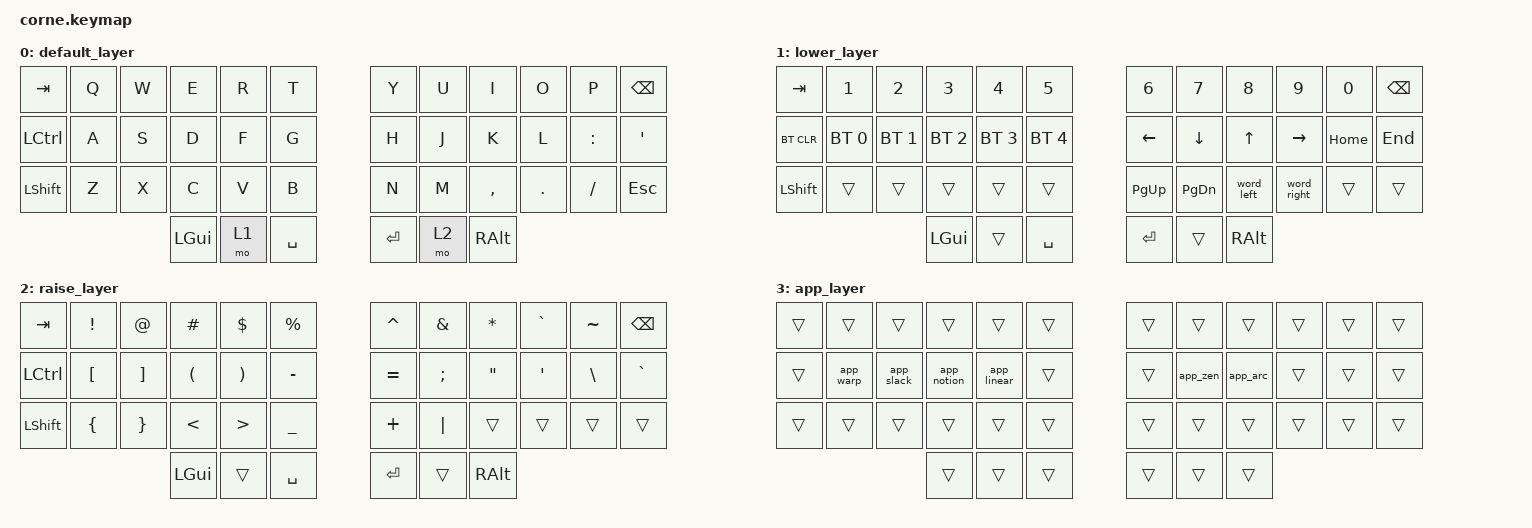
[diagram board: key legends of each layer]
/*
 * Optimized Corne Keymap for Mike Carey - v2.1
 * Optimizations: Markdown/prose editing, app switching (Raycast), Obsidian navigation
 * PRIMARY WORKFLOWS: Slack messages, Linear tickets, Obsidian docs, Terminal (claude)
 * CHANGES FROM v2.0:
 *   - Colon on base layer home row (replaced semicolon) for emoji usage
 *   - Word-jump navigation: Shift+H/L = Option+Left/Right (word backward/forward)
 * Generated: 2026-06-09
 */

#include <behaviors.dtsi>
#include <dt-bindings/zmk/keys.h>
#include <dt-bindings/zmk/bt.h>

/ {
    // Define macros for app switching via Raycast
    // Each sends Cmd+Ctrl+Opt+Shift+[key] for Raycast to intercept
    macros {
        app_warp: app_warp {
            compatible = "zmk,behavior-macro";
            #binding-cells = <0>;
            bindings = <&kp LG(LC(LA(LS(A))))>;
        };
        app_slack: app_slack {
            compatible = "zmk,behavior-macro";
            #binding-cells = <0>;
            bindings = <&kp LG(LC(LA(LS(S))))>;
        };
        app_notion: app_notion {
            compatible = "zmk,behavior-macro";
            #binding-cells = <0>;
            bindings = <&kp LG(LC(LA(LS(D))))>;
        };
        app_linear: app_linear {
            compatible = "zmk,behavior-macro";
            #binding-cells = <0>;
            bindings = <&kp LG(LC(LA(LS(F))))>;
        };
        app_zen: app_zen {
            compatible = "zmk,behavior-macro";
            #binding-cells = <0>;
            bindings = <&kp LG(LC(LA(LS(J))))>;
        };
        app_arc: app_arc {
            compatible = "zmk,behavior-macro";
            #binding-cells = <0>;
            bindings = <&kp LG(LC(LA(LS(K))))>;
        };
        // Word-jump macros for terminal/editor navigation
        word_left: word_left {
            compatible = "zmk,behavior-macro";
            #binding-cells = <0>;
            bindings = <&kp LA(LEFT)>;  // Option+Left = word backward
        };
        word_right: word_right {
            compatible = "zmk,behavior-macro";
            #binding-cells = <0>;
            bindings = <&kp LA(RIGHT)>;  // Option+Right = word forward
        };
    };

    // Conditional layer: APP layer activates when LOWER + RAISE held together
    conditional_layers {
        compatible = "zmk,conditional-layers";
        app_layer {
            if-layers = <1 2>;  // If layers 1 (LOWER) and 2 (RAISE) both active
            then-layer = <3>;    // Activate layer 3 (APP)
        };
    };

    keymap {
        compatible = "zmk,keymap";

        // ============================================
        // LAYER 0: BASE - QWERTY (colon on home row for emoji usage)
        // ============================================
        default_layer {
            // -----------------------------------------------------------------------------------------
            // |  TAB |  Q  |  W  |  E  |  R  |  T  |   |  Y  |  U   |  I  |  O  |  P  | BSPC |
            // | CTRL |  A  |  S  |  D  |  F  |  G  |   |  H  |  J   |  K  |  L  |  :  |  '   |
            // | SHFT |  Z  |  X  |  C  |  V  |  B  |   |  N  |  M   |  ,  |  .  |  /  | ESC  |
            //                    | GUI | LWR | SPC |   | ENT | RSE  | ALT |

            bindings = <
   &kp TAB   &kp Q &kp W &kp E &kp R &kp T   &kp Y &kp U  &kp I     &kp O   &kp P    &kp BSPC
   &kp LCTRL &kp A &kp S &kp D &kp F &kp G   &kp H &kp J  &kp K     &kp L   &kp COLON &kp SQT
   &kp LSHFT &kp Z &kp X &kp C &kp V &kp B   &kp N &kp M  &kp COMMA &kp DOT &kp FSLH &kp ESC
                  &kp LGUI &mo 1 &kp SPACE   &kp RET &mo 2 &kp RALT
            >;
        };

        // ============================================
        // LAYER 1: LOWER - Numbers + Navigation + Word-Jump
        // Left: Linear numbers for ticket IDs, dates
        // Right: Vim-style arrows (HJKL) for Obsidian doc navigation
        //        + Shift modifier for word-jump (Shift+H/L = word left/right)
        // ============================================
        lower_layer {
            // -----------------------------------------------------------------------------------------
            // |  TAB |  1  |  2  |  3  |  4  |  5  |   |  6  |  7   |  8  |  9  |  0  | BSPC |
            // | BTCLR| BT1 | BT2 | BT3 | BT4 | BT5 |   | LFT | DWN  |  UP | RGT | HOME| END  |
            // | SHFT |     |     |     |     |     |   | PGUP| PGDN | W←  | W→  |     |      |
            //                    | GUI |     | SPC |   | ENT |      | ALT |
            // Note: Shift+H = word left, Shift+L = word right when LOWER is active

            bindings = <
   &kp TAB    &kp N1       &kp N2       &kp N3       &kp N4       &kp N5         &kp N6    &kp N7    &kp N8      &kp N9       &kp N0   &kp BSPC
   &bt BT_CLR &bt BT_SEL 0 &bt BT_SEL 1 &bt BT_SEL 2 &bt BT_SEL 3 &bt BT_SEL 4   &kp LEFT  &kp DOWN  &kp UP      &kp RIGHT    &kp HOME &kp END
   &kp LSHFT  &trans       &trans       &trans       &trans       &trans         &kp PG_UP &kp PG_DN &word_left  &word_right  &trans   &trans
                                        &kp LGUI     &trans       &kp SPACE      &kp RET   &trans    &kp RALT
            >;
        };

        // ============================================
        // LAYER 2: RAISE - Markdown Symbols (semicolon moved here from base)
        // Optimized for: Slack, Linear, Obsidian, markdown editing
        // High-frequency: backtick (code blocks), #, -, brackets
        // ============================================
        raise_layer {
            // -----------------------------------------------------------------------------------------
            // |  TAB |  !  |  @  |  #  |  $  |  %  |   |  ^  |  &  |  *  |  `  |  ~  | BSPC |
            // | CTRL |  [  |  ]  |  (  |  )  |  -  |   |  =  |  ;  |  "  |  '  |  \  |  `   |
            // | SHFT |  {  |  }  |  <  |  >  |  _  |   |  +  |  |  |     |     |     |      |
            //                    | GUI |     | SPC |   | ENT |     | ALT |

            bindings = <
   &kp TAB   &kp EXCL &kp AT   &kp HASH &kp DLLR &kp PRCNT   &kp CARET &kp AMPS &kp ASTRK &kp GRAVE &kp TILDE &kp BSPC
   &kp LCTRL &kp LBKT &kp RBKT &kp LPAR &kp RPAR &kp MINUS   &kp EQUAL &kp SEMI &kp DQT   &kp SQT   &kp BSLH  &kp GRAVE
   &kp LSHFT &kp LBRC &kp RBRC &kp LT   &kp GT   &kp UNDER   &kp PLUS  &kp PIPE &trans    &trans    &trans    &trans
                              &kp LGUI &trans &kp SPACE        &kp RET &trans &kp RALT
            >;
        };

        // ============================================
        // LAYER 3: APP - Application Switching (via Raycast)
        // Activated when LOWER + RAISE held together
        // Home row = app launcher (sends Cmd+Ctrl+Opt+Shift+key)
        // ============================================
        app_layer {
            // -----------------------------------------------------------------------------------------
            // |      |     |     |     |     |     |   |     |     |     |     |     |      |
            // |      | WARP|SLACK|NOTN |LINR |     |   |     | ZEN | ARC |     |     |      |
            // |      |     |     |     |     |     |   |     |     |     |     |     |      |
            //                    |     |     |     |   |     |     |     |

            bindings = <
   &trans &trans     &trans     &trans      &trans      &trans   &trans &trans    &trans   &trans &trans &trans
   &trans &app_warp  &app_slack &app_notion &app_linear &trans   &trans &app_zen  &app_arc &trans &trans &trans
   &trans &trans     &trans     &trans      &trans      &trans   &trans &trans    &trans   &trans &trans &trans
                                &trans      &trans      &trans   &trans &trans    &trans
            >;
        };
    };
};
